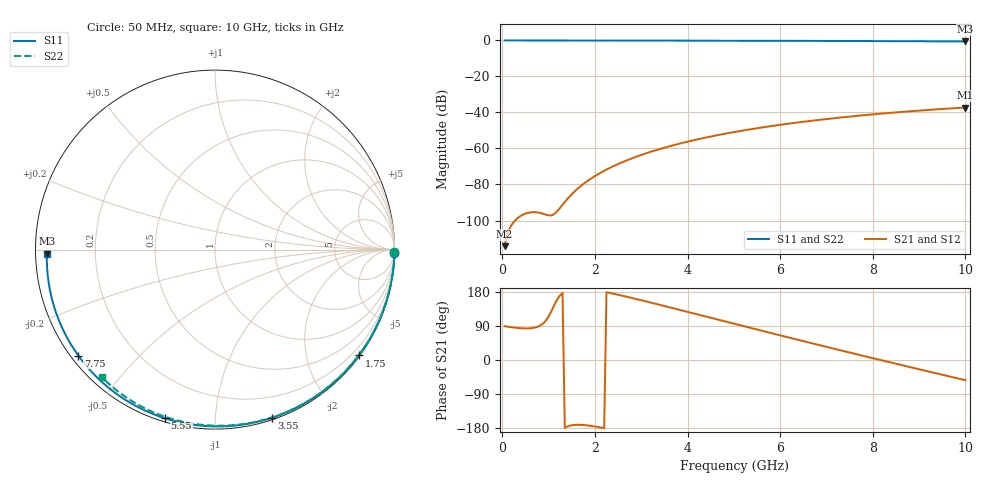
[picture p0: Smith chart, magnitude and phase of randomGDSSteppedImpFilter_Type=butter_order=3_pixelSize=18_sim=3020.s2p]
! freq	dB(S11)	phase(S11)	dB(S12)	phase(S12)
!  dB(S21)	phase(S21)	dB(S22)	phase(S22)
!S-par simulation data
#  GHz  S  DB  R 50
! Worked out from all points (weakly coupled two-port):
!   200 points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, 50 MHz to 10 GHz, reference 50 ohm
!   highest |S21| = -37.24 dB at 10 GHz (marker M1); lowest = -114.3 dB at 50 MHz (marker M2)
!   lowest |S11| = -0.6 dB at 10 GHz (marker M3), VSWR 30.79, Z = 1.62 - j0.623 ohm
!   |S11| at or under -10 dB: nowhere
!   |S22| runs from -0.4 to 0.0 dB; largest |S21 - S12| = 0
!   S11 on the Smith chart (normalised r, x): 50 MHz: open; 1.75 GHz: 0.03, -3.05; 3.55 GHz: 0.02, -1.39; 5.55 GHz: 0.02, -0.75; 7.75 GHz: 0.02, -0.34; 10 GHz: 0.03, -0.01
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0.05  -0.00 -1.1  -114.25 89.1  -114.25 89.1  -0.00 -0.8
0.45  -0.01 -9.5  -96.70 83.5  -96.70 83.5  -0.01 -6.8
0.85  -0.02 -17.9  -96.01 93.3  -96.01 93.3  -0.02 -12.9
1.25  -0.03 -26.2  -92.90 170.8  -92.90 170.8  -0.02 -18.8
1.7  -0.04 -35.3  -80.75 -171.1  -80.75 -171.1  -0.03 -25.5
1.75  -0.05 -36.3  -79.74 -171.5  -79.74 -171.5  -0.03 -26.2
1.9  -0.05 -39.4  -76.98 -173.6  -76.98 -173.6  -0.04 -28.4
2.05  -0.05 -42.4  -74.55 -176.5  -74.55 -176.5  -0.04 -30.6
2.25  -0.06 -46.3  -71.71 178.8  -71.71 178.8  -0.04 -33.6
2.45  -0.06 -50.3  -69.22 173.6  -69.22 173.6  -0.05 -36.4
2.9  -0.08 -59.0  -64.51 160.7  -64.51 160.7  -0.06 -42.9
3.4  -0.09 -68.5  -60.30 145.6  -60.30 145.6  -0.07 -50.0
3.55  -0.09 -71.3  -59.20 141.0  -59.20 141.0  -0.07 -52.0
4.3  -0.12 -84.9  -54.45 117.7  -54.45 117.7  -0.09 -62.3
5.05  -0.15 -98.0  -50.67 94.3  -50.67 94.3  -0.11 -72.3
5.55  -0.17 -106.5  -48.55 78.8  -48.55 78.8  -0.13 -78.8
6.1  -0.20 -115.7  -46.50 61.9  -46.50 61.9  -0.15 -85.7
6.7  -0.24 -125.4  -44.54 43.7  -44.54 43.7  -0.18 -93.2
7.75  -0.32 -142.2  -41.66 12.2  -41.66 12.2  -0.24 -105.8
8.35  -0.38 -151.8  -40.28 -5.5  -40.28 -5.5  -0.29 -112.8
9.2  -0.47 -165.4  -38.58 -30.2  -38.58 -30.2  -0.36 -122.5
10  -0.56 -178.6  -37.24 -53.3  -37.24 -53.3  -0.44 -131.6
